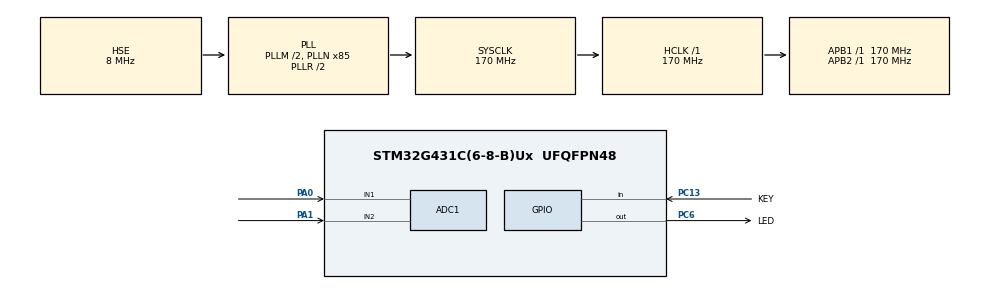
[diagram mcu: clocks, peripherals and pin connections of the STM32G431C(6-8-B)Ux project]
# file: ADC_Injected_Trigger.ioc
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ADC1.Channel-0\#ChannelRegularConversion=ADC_CHANNEL_1
ADC1.Channel-1\#ChannelRegularConversion=ADC_CHANNEL_2
ADC1.ClockPrescaler=ADC_CLOCK_ASYNC_DIV16
ADC1.ContinuousConvMode=DISABLE
ADC1.DMAContinuousRequests=DISABLE
ADC1.DiscontinuousConvMode=DISABLE
ADC1.EOCSelection=ADC_EOC_SINGLE_CONV
ADC1.EnableInjectedConversion=ENABLE
ADC1.ExternalTrigInjecConv=ADC_EXTERNALTRIGINJEC_T7_TRGO
ADC1.InjNumberOfConversion=2
ADC1.InjectedChannel-2\#ChannelInjectedConversion=ADC_CHANNEL_TEMPSENSOR_ADC1
ADC1.InjectedChannel-3\#ChannelInjectedConversion=ADC_CHANNEL_VREFINT
ADC1.InjectedOffsetNumber-2\#ChannelInjectedConversion=ADC_OFFSET_NONE
ADC1.InjectedOffsetNumber-3\#ChannelInjectedConversion=ADC_OFFSET_NONE
ADC1.InjectedRank-2\#ChannelInjectedConversion=1
ADC1.InjectedRank-3\#ChannelInjectedConversion=2
ADC1.InjectedSamplingTime-2\#ChannelInjectedConversion=ADC_SAMPLETIME_47CYCLES_5
ADC1.InjectedSamplingTime-3\#ChannelInjectedConversion=ADC_SAMPLETIME_47CYCLES_5
ADC1.NbrOfConversion=2
ADC1.NbrOfConversionFlag=1
ADC1.OffsetNumber-0\#ChannelRegularConversion=ADC_OFFSET_NONE
ADC1.OffsetNumber-1\#ChannelRegularConversion=ADC_OFFSET_NONE
ADC1.Rank-0\#ChannelRegularConversion=1
ADC1.Rank-1\#ChannelRegularConversion=2
ADC1.Rank2_Channel=ADC_CHANNEL_VREFINT
ADC1.SamplingTime-0\#ChannelRegularConversion=ADC_SAMPLETIME_12CYCLES_5
ADC1.SamplingTime-1\#ChannelRegularConversion=ADC_SAMPLETIME_12CYCLES_5
ADC1.master=1
Dma.ADC1.0.Direction=DMA_PERIPH_TO_MEMORY
Dma.ADC1.0.EventEnable=DISABLE
Dma.ADC1.0.Instance=DMA1_Channel1
Dma.ADC1.0.MemDataAlignment=DMA_MDATAALIGN_WORD
Dma.ADC1.0.MemInc=DMA_MINC_ENABLE
Dma.ADC1.0.Mode=DMA_CIRCULAR
Dma.ADC1.0.PeriphDataAlignment=DMA_PDATAALIGN_WORD
Dma.ADC1.0.PeriphInc=DMA_PINC_DISABLE
Dma.ADC1.0.Polarity=HAL_DMAMUX_REQ_GEN_RISING
Dma.ADC1.0.Priority=DMA_PRIORITY_LOW
Dma.ADC1.0.RequestNumber=1
Dma.ADC1.0.SignalID=NONE
Dma.ADC1.0.SyncEnable=DISABLE
Dma.ADC1.0.SyncPolarity=HAL_DMAMUX_SYNC_NO_EVENT
Dma.ADC1.0.SyncRequestNumber=1
Dma.ADC1.0.SyncSignalID=NONE
Dma.Request0=ADC1
Mcu.Family=STM32G4
Mcu.Name=STM32G431C(6-8-B)Ux
Mcu.Package=UFQFPN48
NVIC.ADC1_2_IRQn=true\:0\:0\:false\:false\:true\:true\:true\:true
NVIC.DMA1_Channel1_IRQn=true\:0\:0\:false\:false\:true\:false\:true\:true
NVIC.PriorityGroup=NVIC_PRIORITYGROUP_4
PA0.Mode=IN1-Single-Ended
PA0.Signal=ADC1_IN1
PA1.Mode=IN2-Single-Ended
PA1.Signal=ADC1_IN2
PA13.Mode=Serial_Wire
PA13.Signal=SYS_JTMS-SWDIO
PA14.Mode=Serial_Wire
PA14.Signal=SYS_JTCK-SWCLK
PC13.GPIO_Label=KEY
PC13.GPIO_PuPd=GPIO_PULLDOWN
PC13.Signal=GPIO_Input
PC6.GPIO_Label=LED
PC6.GPIO_ModeDefaultOutputPP=GPIO_MODE_OUTPUT_PP
PC6.GPIO_Speed=GPIO_SPEED_FREQ_LOW
PC6.PinState=GPIO_PIN_RESET
PC6.Signal=GPIO_Output
PF0-OSC_IN.Mode=HSE-External-Oscillator
PF0-OSC_IN.Signal=RCC_OSC_IN
PF1-OSC_OUT.Mode=HSE-External-Oscillator
PF1-OSC_OUT.Signal=RCC_OSC_OUT
ProjectManager.HeapSize=0x200
ProjectManager.StackSize=0x400
ProjectManager.TargetToolchain=STM32CubeIDE
RCC.ADC12Freq_Value=170000000
RCC.AHBFreq_Value=170000000
RCC.APB1Freq_Value=170000000
RCC.APB1TimFreq_Value=170000000
RCC.APB2Freq_Value=170000000
RCC.APB2TimFreq_Value=170000000
RCC.CortexFreq_Value=170000000
RCC.EXTERNAL_CLOCK_VALUE=12288000
RCC.HCLKFreq_Value=170000000
RCC.HSE_VALUE=8000000
RCC.HSI48_VALUE=48000000
RCC.HSI_VALUE=16000000
RCC.LSE_VALUE=32768
RCC.PLLM=RCC_PLLM_DIV2
RCC.PLLN=85
RCC.PLLSourceVirtual=RCC_PLLSOURCE_HSE
RCC.SYSCLKFreq_VALUE=170000000
RCC.SYSCLKSource=RCC_SYSCLKSOURCE_PLLCLK
RCC.USBFreq_Value=170000000
RCC.VCOOutputFreq_Value=340000000
TIM7.PeriodNoDither=10000-1
TIM7.Prescaler=17000-1
TIM7.TIM_MasterOutputTrigger=TIM_TRGO_UPDATE
VP_ADC1_TempSens_Input.Mode=IN-TempSens
VP_ADC1_Vref_Input.Mode=IN-Vrefint
VP_SYS_VS_DBSignals.Mode=DisableDeadBatterySignals
VP_SYS_V_VREFBUF.Mode=ExternalMode
VP_TIM7_VS_ClockSourceINT.Mode=Enable_Timer
board=custom

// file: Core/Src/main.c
/* USER CODE BEGIN Header */
/**
  ******************************************************************************
  * @file           : main.c
  * @brief          : Main program body
  ******************************************************************************
  * @attention
  *
  * Copyright (c) 2025 STMicroelectronics.
  * All rights reserved.
  *
  * This software is licensed under terms that can be found in the LICENSE file
  * in the root directory of this software component.
  * If no LICENSE file comes with this software, it is provided AS-IS.
  *
  ******************************************************************************
  */
/* USER CODE END Header */
#include "main.h"

/* USER CODE BEGIN PD */

#define VREFANALOG_VALUE  3300

/* USER CODE END PD */

ADC_HandleTypeDef hadc1;
DMA_HandleTypeDef hdma_adc1;

TIM_HandleTypeDef htim7;

/* USER CODE BEGIN PV */

uint32_t ADC_Value[2];
int32_t Temperature;
uint32_t Vref;
uint32_t my_counter;

/* USER CODE END PV */

void SystemClock_Config(void);
static void MX_GPIO_Init(void);
static void MX_DMA_Init(void);
static void MX_ADC1_Init(void);
static void MX_TIM7_Init(void);

/* USER CODE BEGIN 0 */

void HAL_ADCEx_InjectedConvCpltCallback(ADC_HandleTypeDef *hadc) {
	uint32_t ADC_Temp;
	uint32_t ADC_Vref;

	ADC_Temp = HAL_ADCEx_InjectedGetValue(&hadc1, ADC_INJECTED_RANK_1);
	ADC_Vref = HAL_ADCEx_InjectedGetValue(&hadc1, ADC_INJECTED_RANK_2);

	Temperature = __HAL_ADC_CALC_TEMPERATURE(
	        VREFANALOG_VALUE, // Reference voltage in mV (e.g., 3300 for 3.3V)
			ADC_Temp, // ADC Value
	        ADC_RESOLUTION_12B // Resolution
	    );

	if (ADC_Vref > 0) {
		Vref = __HAL_ADC_CALC_VREFANALOG_VOLTAGE(
				ADC_Vref, // ADC Value
				ADC_RESOLUTION_12B // Resolution
				);
	}

}

/* USER CODE END 0 */

int main(void)
{

  /* MCU Configuration--------------------------------------------------------*/

  /* Reset of all peripherals, Initializes the Flash interface and the Systick. */
  HAL_Init();

  /* Configure the system clock */
  SystemClock_Config();

  /* Initialize all configured peripherals */
  MX_GPIO_Init();
  MX_DMA_Init();
  MX_ADC1_Init();
  MX_TIM7_Init();
  /* USER CODE BEGIN 2 */

  HAL_TIM_Base_Start_IT(&htim7);

  // Enable ADC
  ADC_Enable(&hadc1);
  // ADC Calibration
  if (HAL_ADCEx_Calibration_Start(&hadc1, ADC_SINGLE_ENDED) != HAL_OK) {
	  Error_Handler();
  }

  HAL_ADCEx_InjectedStart_IT(&hadc1);

  /* USER CODE END 2 */

  /* Infinite loop */
  /* USER CODE BEGIN WHILE */
  while (1)
  {
	  HAL_ADC_Start_DMA(&hadc1, ADC_Value, 2);

	  my_counter++;

	  HAL_Delay(100);

    /* USER CODE END WHILE */

  }
}

void SystemClock_Config(void)
{
  RCC_OscInitTypeDef RCC_OscInitStruct = {0};
  RCC_ClkInitTypeDef RCC_ClkInitStruct = {0};

  /** Configure the main internal regulator output voltage
  */
  HAL_PWREx_ControlVoltageScaling(PWR_REGULATOR_VOLTAGE_SCALE1_BOOST);

  /** Initializes the RCC Oscillators according to the specified parameters
  * in the RCC_OscInitTypeDef structure.
  */
  RCC_OscInitStruct.OscillatorType = RCC_OSCILLATORTYPE_HSE;
  RCC_OscInitStruct.HSEState = RCC_HSE_ON;
  RCC_OscInitStruct.PLL.PLLState = RCC_PLL_ON;
  RCC_OscInitStruct.PLL.PLLSource = RCC_PLLSOURCE_HSE;
  RCC_OscInitStruct.PLL.PLLM = RCC_PLLM_DIV2;
  RCC_OscInitStruct.PLL.PLLN = 85;
  RCC_OscInitStruct.PLL.PLLP = RCC_PLLP_DIV2;
  RCC_OscInitStruct.PLL.PLLQ = RCC_PLLQ_DIV2;
  RCC_OscInitStruct.PLL.PLLR = RCC_PLLR_DIV2;
  if (HAL_RCC_OscConfig(&RCC_OscInitStruct) != HAL_OK)
  {
    Error_Handler();
  }

  /** Initializes the CPU, AHB and APB buses clocks
  */
  RCC_ClkInitStruct.ClockType = RCC_CLOCKTYPE_HCLK|RCC_CLOCKTYPE_SYSCLK
                              |RCC_CLOCKTYPE_PCLK1|RCC_CLOCKTYPE_PCLK2;
  RCC_ClkInitStruct.SYSCLKSource = RCC_SYSCLKSOURCE_PLLCLK;
  RCC_ClkInitStruct.AHBCLKDivider = RCC_SYSCLK_DIV1;
  RCC_ClkInitStruct.APB1CLKDivider = RCC_HCLK_DIV1;
  RCC_ClkInitStruct.APB2CLKDivider = RCC_HCLK_DIV1;

  if (HAL_RCC_ClockConfig(&RCC_ClkInitStruct, FLASH_LATENCY_4) != HAL_OK)
  {
    Error_Handler();
  }
}

static void MX_ADC1_Init(void)
{

  ADC_MultiModeTypeDef multimode = {0};
  ADC_ChannelConfTypeDef sConfig = {0};
  ADC_InjectionConfTypeDef sConfigInjected = {0};

  /** Common config
  */
  hadc1.Instance = ADC1;
  hadc1.Init.ClockPrescaler = ADC_CLOCK_ASYNC_DIV16;
  hadc1.Init.Resolution = ADC_RESOLUTION_12B;
  hadc1.Init.DataAlign = ADC_DATAALIGN_RIGHT;
  hadc1.Init.GainCompensation = 0;
  hadc1.Init.ScanConvMode = ADC_SCAN_ENABLE;
  hadc1.Init.EOCSelection = ADC_EOC_SINGLE_CONV;
  hadc1.Init.LowPowerAutoWait = DISABLE;
  hadc1.Init.ContinuousConvMode = DISABLE;
  hadc1.Init.NbrOfConversion = 2;
  hadc1.Init.DiscontinuousConvMode = DISABLE;
  hadc1.Init.ExternalTrigConv = ADC_SOFTWARE_START;
  hadc1.Init.ExternalTrigConvEdge = ADC_EXTERNALTRIGCONVEDGE_NONE;
  hadc1.Init.DMAContinuousRequests = DISABLE;
  hadc1.Init.Overrun = ADC_OVR_DATA_PRESERVED;
  hadc1.Init.OversamplingMode = DISABLE;
  if (HAL_ADC_Init(&hadc1) != HAL_OK)
  {
    Error_Handler();
  }

  /** Configure the ADC multi-mode
  */
  multimode.Mode = ADC_MODE_INDEPENDENT;
  if (HAL_ADCEx_MultiModeConfigChannel(&hadc1, &multimode) != HAL_OK)
  {
    Error_Handler();
  }

  /** Configure Regular Channel
  */
  sConfig.Channel = ADC_CHANNEL_1;
  sConfig.Rank = ADC_REGULAR_RANK_1;
  sConfig.SamplingTime = ADC_SAMPLETIME_12CYCLES_5;
  sConfig.SingleDiff = ADC_SINGLE_ENDED;
  sConfig.OffsetNumber = ADC_OFFSET_NONE;
  sConfig.Offset = 0;
  if (HAL_ADC_ConfigChannel(&hadc1, &sConfig) != HAL_OK)
  {
    Error_Handler();
  }

  /** Configure Regular Channel
  */
  sConfig.Channel = ADC_CHANNEL_2;
  sConfig.Rank = ADC_REGULAR_RANK_2;
  if (HAL_ADC_ConfigChannel(&hadc1, &sConfig) != HAL_OK)
  {
    Error_Handler();
  }

  /** Configure Injected Channel
  */
  sConfigInjected.InjectedChannel = ADC_CHANNEL_TEMPSENSOR_ADC1;
  sConfigInjected.InjectedRank = ADC_INJECTED_RANK_1;
  sConfigInjected.InjectedSamplingTime = ADC_SAMPLETIME_47CYCLES_5;
  sConfigInjected.InjectedSingleDiff = ADC_SINGLE_ENDED;
  sConfigInjected.InjectedOffsetNumber = ADC_OFFSET_NONE;
  sConfigInjected.InjectedOffset = 0;
  sConfigInjected.InjectedNbrOfConversion = 2;
  sConfigInjected.InjectedDiscontinuousConvMode = DISABLE;
  sConfigInjected.AutoInjectedConv = DISABLE;
  sConfigInjected.QueueInjectedContext = DISABLE;
  sConfigInjected.ExternalTrigInjecConv = ADC_EXTERNALTRIGINJEC_T7_TRGO;
  sConfigInjected.ExternalTrigInjecConvEdge = ADC_EXTERNALTRIGINJECCONV_EDGE_RISING;
  sConfigInjected.InjecOversamplingMode = DISABLE;
  if (HAL_ADCEx_InjectedConfigChannel(&hadc1, &sConfigInjected) != HAL_OK)
  {
    Error_Handler();
  }

  /** Configure Injected Channel
  */
  sConfigInjected.InjectedChannel = ADC_CHANNEL_VREFINT;
  sConfigInjected.InjectedRank = ADC_INJECTED_RANK_2;
  if (HAL_ADCEx_InjectedConfigChannel(&hadc1, &sConfigInjected) != HAL_OK)
  {
    Error_Handler();
  }

}

static void MX_TIM7_Init(void)
{

  TIM_MasterConfigTypeDef sMasterConfig = {0};

  htim7.Instance = TIM7;
  htim7.Init.Prescaler = 17000-1;
  htim7.Init.CounterMode = TIM_COUNTERMODE_UP;
  htim7.Init.Period = 9999;
  htim7.Init.AutoReloadPreload = TIM_AUTORELOAD_PRELOAD_DISABLE;
  if (HAL_TIM_Base_Init(&htim7) != HAL_OK)
  {
    Error_Handler();
  }
  sMasterConfig.MasterOutputTrigger = TIM_TRGO_UPDATE;
  sMasterConfig.MasterSlaveMode = TIM_MASTERSLAVEMODE_DISABLE;
  if (HAL_TIMEx_MasterConfigSynchronization(&htim7, &sMasterConfig) != HAL_OK)
  {
    Error_Handler();
  }

}

static void MX_DMA_Init(void)
{

  /* DMA controller clock enable */
  __HAL_RCC_DMAMUX1_CLK_ENABLE();
  __HAL_RCC_DMA1_CLK_ENABLE();

  /* DMA interrupt init */
  /* DMA1_Channel1_IRQn interrupt configuration */
  HAL_NVIC_SetPriority(DMA1_Channel1_IRQn, 0, 0);
  HAL_NVIC_EnableIRQ(DMA1_Channel1_IRQn);

}

static void MX_GPIO_Init(void)
{
  GPIO_InitTypeDef GPIO_InitStruct = {0};

  /* GPIO Ports Clock Enable */
  __HAL_RCC_GPIOC_CLK_ENABLE();
  __HAL_RCC_GPIOF_CLK_ENABLE();
  __HAL_RCC_GPIOA_CLK_ENABLE();

  /*Configure GPIO pin Output Level */
  HAL_GPIO_WritePin(LED_GPIO_Port, LED_Pin, GPIO_PIN_RESET);

  /*Configure GPIO pin : KEY_Pin */
  GPIO_InitStruct.Pin = KEY_Pin;
  GPIO_InitStruct.Mode = GPIO_MODE_INPUT;
  GPIO_InitStruct.Pull = GPIO_PULLDOWN;
  HAL_GPIO_Init(KEY_GPIO_Port, &GPIO_InitStruct);

  /*Configure GPIO pin : LED_Pin */
  GPIO_InitStruct.Pin = LED_Pin;
  GPIO_InitStruct.Mode = GPIO_MODE_OUTPUT_PP;
  GPIO_InitStruct.Pull = GPIO_NOPULL;
  GPIO_InitStruct.Speed = GPIO_SPEED_FREQ_LOW;
  HAL_GPIO_Init(LED_GPIO_Port, &GPIO_InitStruct);

}

void Error_Handler(void)
{
  __disable_irq();
  while (1)
  {
  }
}
